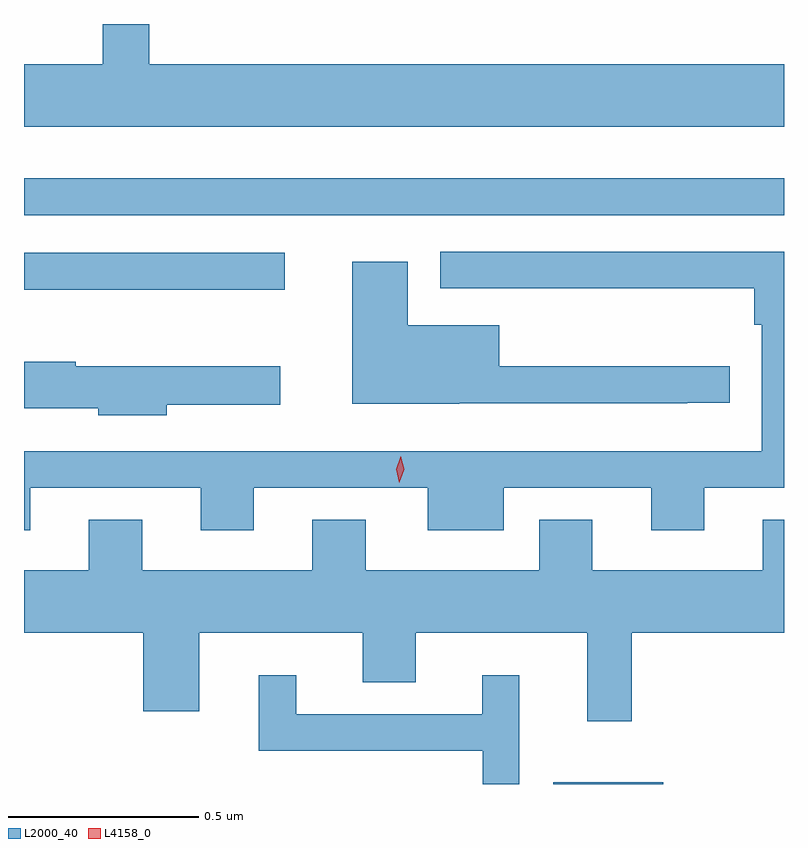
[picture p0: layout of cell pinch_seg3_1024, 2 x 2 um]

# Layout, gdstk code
import gdstk
lib = gdstk.Library(unit=1e-6, precision=1e-09)
def R(c, l, rs):  # rectangles x0, y0, x1, y1
    for r in rs: c.add(gdstk.rectangle(r[:2], r[2:], *l))
def P(c, l, *ps):  # polygons
    for p in ps: c.add(gdstk.Polygon(p, *l))
L2000_40 = (2000, 40)
L4158_0 = (4158, 0)

pinch_seg3_1024 = lib.new_cell('pinch_seg3_1024')
R(pinch_seg3_1024, L2000_40, [(414.951,680.538,415.24,680.542), (413.558,681.839,414.244,681.936), (413.558,682.035,415.558,682.132)])
P(pinch_seg3_1024, L2000_40, [(415.558,682.432),(413.887,682.432),(413.887,682.538),(413.765,682.538),(413.765,682.432),(413.558,682.432),(413.558,682.268),(415.558,682.268)],
  [(413.575,681.318),(414.023,681.318),(414.023,681.206),(414.163,681.206),(414.163,681.318),(414.62,681.318),(414.62,681.206),(414.82,681.206),(414.82,681.318),(415.208,681.318),(415.208,681.206),(415.348,681.206),(415.348,681.318),(415.558,681.318),(415.558,681.939),(414.653,681.939),(414.653,681.843),(414.904,681.843),(414.904,681.842),(415.48,681.842),(415.48,681.746),(415.5,681.746),(415.5,681.414),(413.558,681.414),(413.558,681.206),(413.575,681.206)],
  [(414.704,681.54),(415.304,681.54),(415.304,681.541),(415.415,681.541),(415.415,681.638),(414.808,681.638),(414.808,681.745),(414.568,681.745),(414.568,681.913),(414.422,681.913),(414.422,681.539),(414.704,681.539)],
  [(413.934,681.536),(414.232,681.536),(414.232,681.637),(413.694,681.637),(413.694,681.649),(413.558,681.649),(413.558,681.527),(413.754,681.527),(413.754,681.509),(413.934,681.509)],
  [(415.157,680.936),(415.558,680.936),(415.558,681.233),(415.502,681.233),(415.502,681.1),(415.054,681.1),(415.054,681.233),(414.914,681.233),(414.914,681.1),(414.457,681.1),(414.457,681.233),(414.317,681.233),(414.317,681.1),(413.869,681.1),(413.869,681.233),(413.729,681.233),(413.729,681.1),(413.558,681.1),(413.558,680.936),(413.872,680.936),(413.872,680.73),(414.019,680.73),(414.019,680.936),(414.449,680.936),(414.449,680.806),(414.589,680.806),(414.589,680.936),(415.04,680.936),(415.04,680.703),(415.157,680.703)],
  [(414.861,680.824),(414.764,680.824),(414.764,680.721),(414.274,680.721),(414.274,680.824),(414.176,680.824),(414.176,680.625),(414.765,680.625),(414.765,680.538),(414.861,680.538)])
P(pinch_seg3_1024, L4158_0, [(414.546,681.331),(414.546,681.331),(414.538,681.366),(414.549,681.401),(414.55,681.401),(414.55,681.401),(414.558,681.366),(414.546,681.331)])

lib.write_gds('pinch_seg3_1024.gds')
